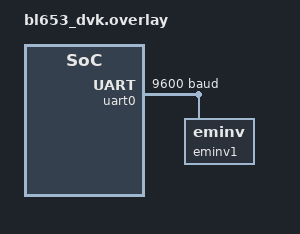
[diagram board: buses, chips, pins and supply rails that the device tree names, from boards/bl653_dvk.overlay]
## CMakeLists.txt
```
# SPDX-License-Identifier: Apache-2.0

list(APPEND ZEPHYR_EXTRA_MODULES ${CMAKE_CURRENT_SOURCE_DIR}/oot_module)

cmake_minimum_required(VERSION 3.20.0)

find_package(Zephyr REQUIRED HINTS $ENV{ZEPHYR_BASE})
project(oot_mp3_demo)

target_sources(app PRIVATE src/main.c)
```

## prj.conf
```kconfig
CONFIG_PRINTK=y
CONFIG_LOG=y
CONFIG_CONSOLE=y
CONFIG_UART_CONSOLE=n
CONFIG_RTT_CONSOLE=y
CONFIG_USE_SEGGER_RTT=y

CONFIG_SERIAL=y
CONFIG_UART_INTERRUPT_DRIVEN=y
CONFIG_UART_ASYNC_API=y
CONFIG_SENSOR=y
CONFIG_MP3_YX5300=y
```

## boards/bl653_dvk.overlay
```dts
/ {	

};

&uart0 {
	compatible = "nordic,nrf-uart";
	current-speed = <9600>;
	parity = "none";
	stop-bits = "1";
	data-bits = <8>;
	status = "okay";
	pinctrl-0 = <&uart0_default>;
	pinctrl-1 = <&uart0_sleep>;
	pinctrl-names = "default", "sleep";   

	eminv1:eminv{
		status = "okay";
		compatible = "zephyr,eminv";
	};
};
```

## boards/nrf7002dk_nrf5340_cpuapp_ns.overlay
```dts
/ {	

};

&uart0 {
	compatible = "nordic,nrf-uarte";
	current-speed = <9600>;
	parity = "none";
	stop-bits = "1";
	data-bits = <8>;
	status = "okay";
	pinctrl-0 = <&uart0_default>;
	pinctrl-1 = <&uart0_sleep>;
	pinctrl-names = "default", "sleep";   

	yx5300_1:mp3yx5300{
		status = "okay";
		compatible = "zephyr,mp3yx5300";
	};
};
```

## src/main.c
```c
/*
 * Copyright (c) 2012-2014 Wind River Systems, Inc.
 *
 * SPDX-License-Identifier: Apache-2.0
 */

#include <stdio.h>
#include <zephyr/kernel.h>
#include <zephyr/device.h>
#include <zephyr/devicetree.h>
#include <zephyr/drivers/sensor.h>

int main(void)
{
	printk("code started\n");
	k_sleep(K_MSEC(5000));
	printk("code started\n");

	//static const struct device *mp3yx5300_dev = DEVICE_DT_GET_ANY(zephyr_mp3yx5300);
	static const struct device *mp3yx5300_dev = DEVICE_DT_GET(DT_NODELABEL(yx5300_1));
	//const struct device *const lsm6dsl_dev = DEVICE_DT_GET(DT_NODELABEL(mp3yx53001));

	if (mp3yx5300_dev == NULL) {
		/* No such node, or the node does not have status "okay". */
		printk("\nError: no device found.\n");
		return 0;
	}

	if (!device_is_ready(mp3yx5300_dev)) {
		printk("\nError: Device \"%s\" is not ready; "
		       "check the driver initialization logs for errors.\n",
		       mp3yx5300_dev->name);
		return 0;
	}

	printk("Found device \"%s\", getting sensor data\n", mp3yx5300_dev->name);

	if (mp3yx5300_dev == NULL) {
		return 0;
	}

	printk("calling after 5 sec\n");
	
	k_sleep(K_MSEC(5000));
	sensor_sample_fetch_chan(mp3yx5300_dev, SENSOR_CHAN_VOLTAGE);

	while (1) {

		//sensor_sample_fetch_chan(mp3yx5300_dev, SENSOR_CHAN_VOLTAGE);
		//sensor_channel_get(mp3yx5300_dev, SENSOR_CHAN_AMBIENT_TEMP, &temp);
		//sensor_channel_get(mp3yx5300_dev, SENSOR_CHAN_PRESS, &press);
		//sensor_channel_get(mp3yx5300_dev, SENSOR_CHAN_HUMIDITY, &humidity);
		//printk("ubaid it is working\n");
		k_sleep(K_MSEC(1000));
	}

	return 0;
}
```
